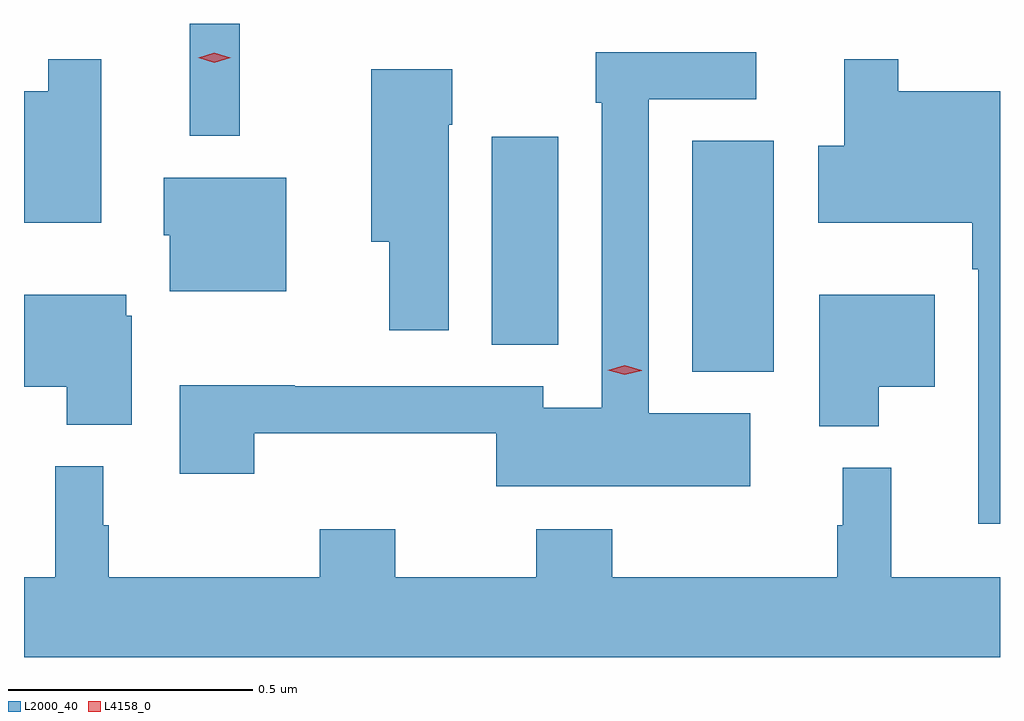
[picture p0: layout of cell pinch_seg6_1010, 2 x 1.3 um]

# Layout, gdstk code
import gdstk
lib = gdstk.Library(unit=1e-6, precision=1e-09)
def R(c, l, rs):  # rectangles x0, y0, x1, y1
    for r in rs: c.add(gdstk.rectangle(r[:2], r[2:], *l))
def P(c, l, *ps):  # polygons
    for p in ps: c.add(gdstk.Polygon(p, *l))
L2000_40 = (2000, 40)
L4158_0 = (4158, 0)

pinch_seg6_1010 = lib.new_cell('pinch_seg6_1010')
R(pinch_seg6_1010, L2000_40, [(303.401,923.945,303.568,924.419), (302.99,924.001,303.127,924.427), (302.372,924.429,302.474,924.659)])
P(pinch_seg6_1010, L2000_40, [(303.52,923.86),(303.312,923.86),(303.312,924.504),(303.532,924.504),(303.532,924.6),(303.204,924.6),(303.204,924.497),(303.216,924.497),(303.216,923.872),(303.096,923.872),(303.096,923.916),(302.587,923.916),(302.587,923.918),(302.351,923.918),(302.351,923.736),(302.504,923.736),(302.504,923.819),(303,923.819),(303,923.711),(303.52,923.711)],
  [(302.19,924.586),(302.082,924.586),(302.082,924.52),(302.032,924.52),(302.032,924.251),(302.19,924.251)],
  [(304.032,924.52),(303.823,924.52),(303.823,924.586),(303.713,924.586),(303.713,924.409),(303.66,924.409),(303.66,924.251),(303.975,924.251),(303.975,924.155),(303.987,924.155),(303.987,923.634),(304.032,923.634)],
  [(302.902,924.452),(302.91,924.452),(302.91,924.565),(302.744,924.565),(302.744,924.212),(302.78,924.212),(302.78,924.03),(302.902,924.03)],
  [(302.569,924.343),(302.318,924.343),(302.318,924.225),(302.331,924.225),(302.331,924.11),(302.569,924.11)],
  [(302.253,924.06),(302.242,924.06),(302.242,924.103),(302.032,924.103),(302.032,923.915),(302.12,923.915),(302.12,923.837),(302.253,923.837)],
  [(303.784,923.915),(303.898,923.915),(303.898,924.103),(303.662,924.103),(303.662,923.834),(303.784,923.834)],
  [(304.032,923.524),(303.809,923.524),(303.809,923.749),(303.71,923.749),(303.71,923.631),(303.699,923.631),(303.699,923.524),(303.237,923.524),(303.237,923.623),(303.082,923.623),(303.082,923.524),(302.793,923.524),(302.793,923.623),(302.638,923.623),(302.638,923.524),(302.206,923.524),(302.206,923.631),(302.194,923.631),(302.194,923.752),(302.096,923.752),(302.096,923.524),(302.032,923.524),(302.032,923.36),(304.032,923.36)])
P(pinch_seg6_1010, L4158_0, [(302.422,924.579),(302.389,924.589),(302.389,924.589),(302.389,924.589),(302.422,924.599),(302.456,924.589),(302.456,924.589),(302.456,924.589)],
  [(303.263,923.939),(303.228,923.949),(303.228,923.949),(303.228,923.949),(303.263,923.959),(303.298,923.949),(303.298,923.948),(303.298,923.948)])

lib.write_gds('pinch_seg6_1010.gds')
